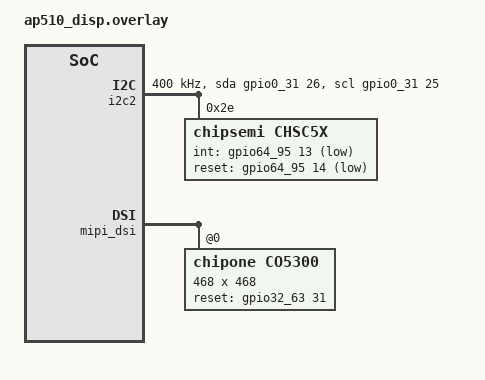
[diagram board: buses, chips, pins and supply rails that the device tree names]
/*
 * Copyright (c) 2025 Ambiq Micro Inc.
 *
 * SPDX-License-Identifier: Apache-2.0
 */
#include <apollo510/ambiq-apollo510-pinmux.h>
#include <zephyr/dt-bindings/mipi_dsi/mipi_dsi.h>
#include <zephyr/dt-bindings/display/panel.h>
#include <zephyr/dt-bindings/i2c/i2c.h>

/ {
	chosen {
		zephyr,display = &co5300;
		zephyr,touch = &chsc5x;
	};
};

&iom2 {
	cmdq-buffer-location = "SRAM_NO_CACHE";
	cmdq-buffer-size = <256>;

	i2c2: i2c {
		pinctrl-0 = <&i2c2_default>;
		pinctrl-1 = <&i2c2_sleep>;
		pinctrl-names = "default", "sleep";
		clock-frequency = <I2C_BITRATE_FAST>;
		scl-gpios = <&gpio0_31 25 (GPIO_OPEN_DRAIN | GPIO_PULL_UP)>;
		sda-gpios = <&gpio0_31 26 (GPIO_OPEN_DRAIN | GPIO_PULL_UP)>;
		status = "okay";

		chsc5x: chsc5x@2e {
			compatible = "chipsemi,chsc5x";
			reg = <0x2e>;
			int-gpios = <&gpio64_95 13 GPIO_ACTIVE_LOW>;
			reset-gpios = <&gpio64_95 14 GPIO_ACTIVE_LOW>;
		};
	};
};

&mipi_dsi {
	status = "okay";
	phy-clock = <240000000>;	/*The frequency should be a multiple of 12MHz.*/
	/*apollo510_evb designed with a loadswitch to control power Vdd18.*/
	vdd18-gpios = <&gpio32_63 26 (GPIO_PULL_DOWN)>;
	/*disp-te;*/

	co5300: co5300@0 {
		status = "okay";
		compatible = "chipone,co5300";
		reset-gpios = <&gpio32_63 31 (GPIO_PULL_UP)>;
		reg = <0x0>;
		data-lanes = <1>;
		pixel-format = <PANEL_PIXEL_FORMAT_RGB_888>;
		rotation = <0>;
		mode-flags = <0>;
		width = <468>;	/*Its value should be an integer multiple of 4.*/
		hfp = <1>;	/*Please use this recommended value.*/
		hbp = <1>;	/*Please use this recommended value.*/
		hsync = <1>;	/*Please use this recommended value.*/
		height = <468>;	/**/
		vfp = <1>;	/*Please use this recommended value.*/
		vbp = <1>;	/*Please use this recommended value.*/
		vsync = <1>;	/*Please use this recommended value.*/
	};
};

&gpio32_63 {
	status = "okay";
};

&gpio64_95 {
	status = "okay";
};
